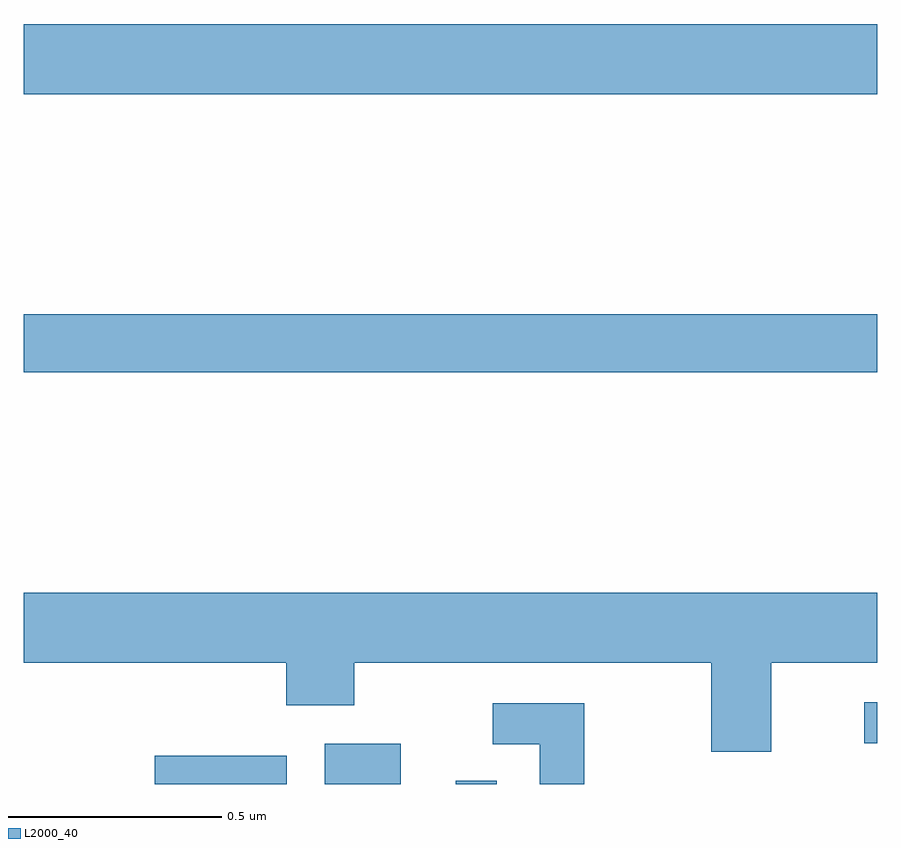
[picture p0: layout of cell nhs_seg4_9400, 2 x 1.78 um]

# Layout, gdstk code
import gdstk
lib = gdstk.Library(unit=1e-6, precision=1e-09)
def R(c, l, rs):  # rectangles x0, y0, x1, y1
    for r in rs: c.add(gdstk.rectangle(r[:2], r[2:], *l))
def P(c, l, *ps):  # polygons
    for p in ps: c.add(gdstk.Polygon(p, *l))
L2000_40 = (2000, 40)

nhs_seg4_9400 = lib.new_cell('nhs_seg4_9400')
R(nhs_seg4_9400, L2000_40, [(227.307,765.9,227.616,765.966), (227.705,765.9,227.884,765.994), (228.012,765.9,228.108,765.908), (228.969,765.996,229,766.092), (227,766.864,229,767), (227,767.516,229,767.68)])
P(nhs_seg4_9400, L2000_40, [(228.751,766.184),(229,766.184),(229,766.348),(227,766.348),(227,766.184),(227.615,766.184),(227.615,766.085),(227.775,766.085),(227.775,766.184),(228.611,766.184),(228.611,765.976),(228.751,765.976)],
  [(228.313,766.089),(228.099,766.089),(228.099,765.993),(228.209,765.993),(228.209,765.9),(228.313,765.9)])

lib.write_gds('nhs_seg4_9400.gds')
